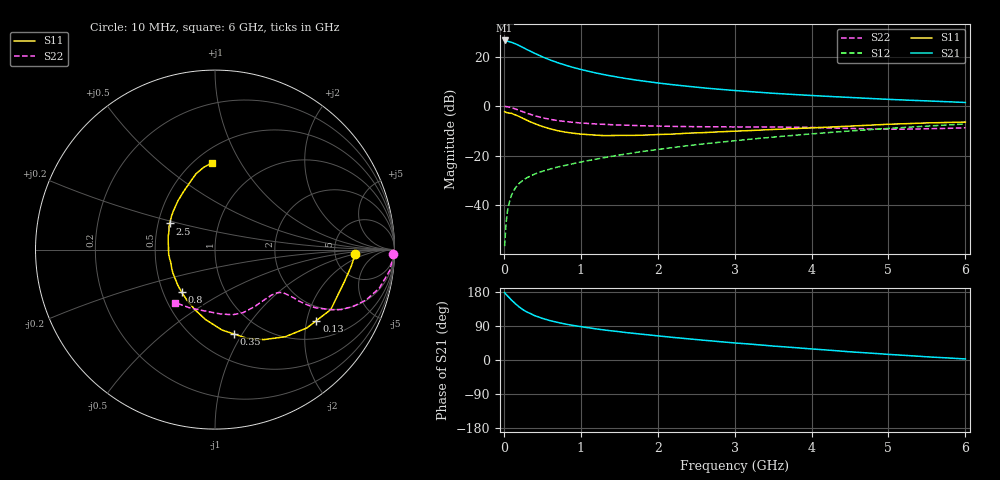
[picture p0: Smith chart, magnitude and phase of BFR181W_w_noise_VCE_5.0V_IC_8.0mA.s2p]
! Infineon Technologies  Discrete & RF Semiconductors
! BFR181W
! VCE =  5.0 V,  IC =  8.0 mA
! Common Emitter S-Parameters:  Jan 2017
# GHz  S  MA  R  50
!  f  S11  S21  S12  S22
! GHz  MAG  ANG  MAG  ANG  MAG  ANG  MAG  ANG
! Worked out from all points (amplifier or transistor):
!   77 points, 10 MHz to 6 GHz, reference 50 ohm
!   highest |S21| = 26.6 dB at 10 MHz (marker M1)
!   |S21| within 3 dB of that: start of sweep to 258.7 MHz
!   unconditionally stable (mu >= 1): 1.116 GHz to 3.128 GHz
!   at 130 MHz: K = 0.23, MSG = 29.8 dB, |S12| = -34.0 dB
!   at 2.2 GHz: K = 1.06, MAG = 11.2 dB, |S12| = -16.6 dB
!   at 6 GHz: K = 0.85, MSG = 4.3 dB, |S12| = -7.1 dB
!   lowest NFmin = 1.14 dB at 450 MHz
!   S11 on the Smith chart (normalised r, x): 10 MHz: 7.99, -1.12; 130 MHz: 1.52, -2.29; 350 MHz: 0.75, -0.92; 800 MHz: 0.62, -0.33; 2.5 GHz: 0.58, +0.18; 6 GHz: 0.60, +0.76
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0.01  0.7813 -2.0  21.45 178.2  0.0015 85.5  0.994 -1.3
0.02  0.7652 -6.8  21.16 175.1  0.0026 92.6  0.9925 -2.5
0.06  0.7365 -16.5  20.47 166.6  0.0097 80.9  0.9713 -8.1
0.1  0.7263 -27.4  19.7 157.9  0.016 77.5  0.9404 -13.2
0.13  0.6897 -35.0  18.85 152.4  0.0199 73.5  0.9082 -16.2
0.15  0.6727 -40.5  18.38 148.5  0.0225 71.6  0.8882 -18.4
0.2  0.6236 -51.1  16.86 139.8  0.0279 67.3  0.8301 -22.5
0.25  0.5711 -61.4  15.44 132.6  0.0323 64.5  0.7766 -25.5
0.3  0.5238 -70.4  14.04 126.6  0.0362 62.3  0.7256 -27.5
0.35  0.4826 -77.2  12.89 122.2  0.0395 61.4  0.6859 -28.7
0.4  0.4494 -85.1  11.82 117.0  0.0429 60.7  0.6466 -30.1
0.5  0.3929 -97.8  10.03 109.9  0.0488 59.6  0.589 -31.1
0.6  0.353 -108.5  8.687 104.0  0.0541 59.6  0.5476 -31.5
0.8  0.3014 -127.9  6.805 94.9  0.0644 61.3  0.4943 -31.7
1.1  0.2687 -150.8  5.115 85.1  0.0805 63.4  0.4515 -32.4
1.5  0.2593 -174.0  3.85 74.7  0.104 64.9  0.4204 -35.0
2.1  0.2725 161.8  2.851 61.7  0.141 65.2  0.3968 -42.6
2.5  0.2913 150.0  2.447 54.0  0.1679 64.3  0.3888 -49.2
3.1  0.3198 135.4  2.038 43.5  0.2095 61.9  0.3843 -59.3
4.1  0.3737 116.7  1.627 27.8  0.2859 55.8  0.3716 -77.0
5.1  0.4405 102.8  1.365 13.6  0.3664 47.9  0.3463 -102.2
6  0.483 92.1  1.199 2.7  0.441 39.6  0.3688 -126.8
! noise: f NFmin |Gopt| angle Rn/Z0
0.45  1.14  0.2  16  0.21
0.9  1.18  0.19  31  0.21
1.9  1.6  0.07  92  0.2
2.4  1.76  0.06  100  0.23
